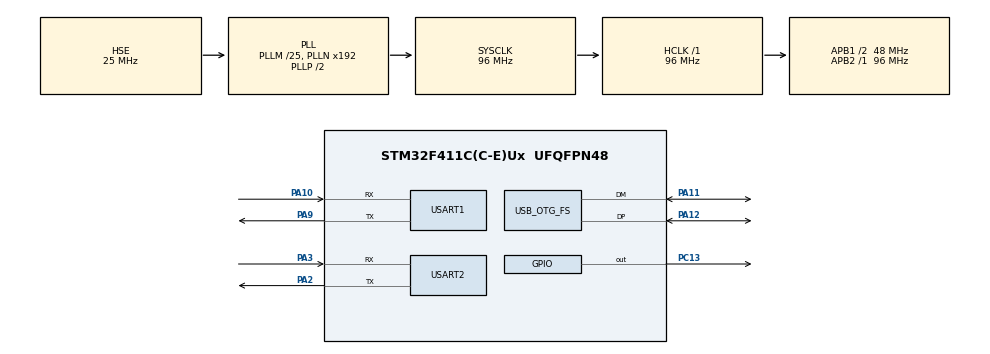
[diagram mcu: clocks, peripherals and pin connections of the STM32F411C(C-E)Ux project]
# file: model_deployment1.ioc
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Dma.Request0=USART2_RX
Dma.USART2_RX.0.Direction=DMA_PERIPH_TO_MEMORY
Dma.USART2_RX.0.FIFOMode=DMA_FIFOMODE_DISABLE
Dma.USART2_RX.0.Instance=DMA1_Stream5
Dma.USART2_RX.0.MemDataAlignment=DMA_MDATAALIGN_BYTE
Dma.USART2_RX.0.MemInc=DMA_MINC_ENABLE
Dma.USART2_RX.0.Mode=DMA_NORMAL
Dma.USART2_RX.0.PeriphDataAlignment=DMA_PDATAALIGN_BYTE
Dma.USART2_RX.0.PeriphInc=DMA_PINC_DISABLE
Dma.USART2_RX.0.Priority=DMA_PRIORITY_LOW
Mcu.Family=STM32F4
Mcu.Name=STM32F411C(C-E)Ux
Mcu.Package=UFQFPN48
NVIC.DMA1_Stream5_IRQn=true\:0\:0\:false\:false\:true\:false\:true\:true
NVIC.OTG_FS_IRQn=true\:0\:0\:false\:false\:true\:false\:true\:true
NVIC.PriorityGroup=NVIC_PRIORITYGROUP_4
NVIC.USART2_IRQn=true\:0\:0\:false\:false\:true\:true\:true\:true
PA10.Mode=Asynchronous
PA10.Signal=USART1_RX
PA11.Mode=Device_Only
PA11.Signal=USB_OTG_FS_DM
PA12.Mode=Device_Only
PA12.Signal=USB_OTG_FS_DP
PA2.Mode=Asynchronous
PA2.Signal=USART2_TX
PA3.Mode=Asynchronous
PA3.Signal=USART2_RX
PA9.Mode=Asynchronous
PA9.Signal=USART1_TX
PC13-ANTI_TAMP.Signal=GPIO_Output
PC14-OSC32_IN.Mode=LSE-External-Oscillator
PC14-OSC32_IN.Signal=RCC_OSC32_IN
PC15-OSC32_OUT.Mode=LSE-External-Oscillator
PC15-OSC32_OUT.Signal=RCC_OSC32_OUT
PH0\ -\ OSC_IN.Mode=HSE-External-Oscillator
PH0\ -\ OSC_IN.Signal=RCC_OSC_IN
PH1\ -\ OSC_OUT.Mode=HSE-External-Oscillator
PH1\ -\ OSC_OUT.Signal=RCC_OSC_OUT
ProjectManager.HeapSize=0x200
ProjectManager.StackSize=0x400
ProjectManager.TargetToolchain=STM32CubeIDE
RCC.48MHZClocksFreq_Value=48000000
RCC.AHBFreq_Value=96000000
RCC.APB1CLKDivider=RCC_HCLK_DIV2
RCC.APB1Freq_Value=48000000
RCC.APB1TimFreq_Value=96000000
RCC.APB2Freq_Value=96000000
RCC.APB2TimFreq_Value=96000000
RCC.CortexFreq_Value=96000000
RCC.HCLKFreq_Value=96000000
RCC.HSE_VALUE=25000000
RCC.HSI_VALUE=16000000
RCC.PLLM=25
RCC.SYSCLKFreq_VALUE=96000000
RCC.SYSCLKSource=RCC_SYSCLKSOURCE_PLLCLK
RCC.VCOOutputFreq_Value=192000000
USART1.VirtualMode=VM_ASYNC
USART2.VirtualMode=VM_ASYNC
USB_DEVICE.CLASS_NAME_FS=CDC
USB_DEVICE.VirtualMode=Cdc
USB_DEVICE.VirtualModeFS=Cdc_FS
USB_OTG_FS.VirtualMode=Device_Only
VP_USB_DEVICE_VS_USB_DEVICE_CDC_FS.Mode=CDC_FS
board=custom

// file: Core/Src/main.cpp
/* USER CODE BEGIN Header */
/**
  ******************************************************************************
  * @file           : main.c
  * @brief          : Main program body
  ******************************************************************************
  * @attention
  *
  * Copyright (c) 2024 STMicroelectronics.
  * All rights reserved.
  *
  * This software is licensed under terms that can be found in the LICENSE file
  * in the root directory of this software component.
  * If no LICENSE file comes with this software, it is provided AS-IS.
  *
  ******************************************************************************
  */
/* USER CODE END Header */
#include "main.h"
#include "usb_device.h"

UART_HandleTypeDef huart1;
UART_HandleTypeDef huart2; // Used for communication with the EMG board reader
DMA_HandleTypeDef hdma_usart2_rx;

void SystemClock_Config(void);
static void MX_GPIO_Init(void);
static void MX_DMA_Init(void);
static void MX_USART1_UART_Init(void);
static void MX_USART2_UART_Init(void);

/* USER CODE BEGIN 0 */

// Initialize Variable to hold data being received from UART
  uint8_t Rx_Data[1];
// Initialize a Variable to represent the index of the input array
  int model_input_index = 0;

void HAL_UART_RxCpltCallback(UART_HandleTypeDef *huart){

	// Check which UART Initiated this callback
	if (huart->Instance == USART2){
	//TF_LITE_REPORT_ERROR(error_reporter, "Data is received through DMA\n");
    __HAL_UART_CLEAR_OREFLAG(&huart2);
	// Place the received value in it's position in the model input
	model_input->data.f[model_input_index] = Rx_Data[0];

	//Increment the index and check if full
	model_input_index++;

	if (model_input_index >= (input_width*input_height*input_channels)){
		model_input_index = 0;      // Reset the index

		// Invoke the model and print results
		TF_LITE_REPORT_ERROR(error_reporter, "The model will be invoked now\n");
			  	        // Run inference, and report any error
			  	        TfLiteStatus invoke_status = interpreter->Invoke();
			  	        if (invoke_status != kTfLiteOk)
			  	        {
			  	            TF_LITE_REPORT_ERROR(error_reporter, "Invoke failed on model input\n");
			  	            //return 0;
			  	        }

			  	        // Read the predicted value from the model's output tensor
			  	      float model_output_results[out_size]; // Assuming there are 5 joint values
			  	      for (int i = 0; i < out_size; ++i) {
			  	          model_output_results[i] = model_output->data.f[i];
			  	      }

			  	      // Log the current X and Y values
			  	      	TF_LITE_REPORT_ERROR(error_reporter, "Output Joint Angles are --- Index: %f   ,Middle: %f   ,Ring: %f   ,Pinky: %f   ,Thumb: %f\n",
			  	      						model_output_results[0], model_output_results[1], model_output_results[2], model_output_results[3], model_output_results[4]);

	}

	// Restart the DMA to get the next value.
	HAL_UART_Receive_DMA(&huart2, Rx_Data, 1);
	}
}
/* USER CODE END 0 */

int main(void)
{

  /* MCU Configuration--------------------------------------------------------*/

  /* Reset of all peripherals, Initializes the Flash interface and the Systick. */
  HAL_Init();

  /* Configure the system clock */
  SystemClock_Config();

  /* USER CODE BEGIN SysInit */
  MX_GPIO_Init();
  MX_DMA_Init();
  MX_USART1_UART_Init();
  MX_USB_DEVICE_Init();
  MX_USART2_UART_Init();
  /* USER CODE END SysInit */

  /* Initialize all configured peripherals */
  /* USER CODE BEGIN 2 */
  static tflite::MicroErrorReporter micro_error_reporter;
    	error_reporter = &micro_error_reporter;

    	// Map the model into a usable data structure. This doesn't involve any
    	// copying or parsing, it's a very lightweight operation.
      model = tflite::GetModel(cnn_model);

    	if(model->version() != TFLITE_SCHEMA_VERSION)
    	{
    		TF_LITE_REPORT_ERROR(error_reporter,
    	                         "Model provided is schema version %d not equal "
    	                         "to supported version %d.",
    	                         model->version(), TFLITE_SCHEMA_VERSION);
    	    return 0;
    	}

    	// This pulls in all the operation implementations we need.
    	static tflite::ops::micro::AllOpsResolver resolver;

    	// Build an interpreter to run the model with.
    	static tflite::MicroInterpreter static_interpreter(model, resolver, tensor_arena, kTensorArenaSize, error_reporter);
    	interpreter = &static_interpreter;

    	// Allocate memory from the tensor_arena for the model's tensors.
    	TfLiteStatus allocate_status = interpreter->AllocateTensors();
    	if (allocate_status != kTfLiteOk)
    	{
    	    TF_LITE_REPORT_ERROR(error_reporter, "AllocateTensors() failed");
    	    return 0;
    	}

    	// Obtain pointers to the model's input and output tensors.
    	model_input = interpreter->input(0);
    	model_output = interpreter->output(0);

    	// Use DMA to get received data from UART and place it in input tensor
    	HAL_UART_Receive_DMA(&huart2, Rx_Data, 1);

  /* USER CODE END 2 */

  /* Infinite loop */
  /* USER CODE BEGIN WHILE */
  while (1)
  {
	  //HAL_UART_Receive(&huart2, Rx_Data, 1, HAL_MAX_DELAY);
	  TF_LITE_REPORT_ERROR(error_reporter, "Rx_Data Received: %d, %d \n", Rx_Data[0], model_input_index);
	  /* USER CODE BEGIN 3 */

	  // Fill the input tensor buffer with your input data to the model
	  /*for (int i = 0; i < input_width; ++i) { //image width = 20
	      for (int j = 0; j < input_height; ++j) { //image height = 20
	          for (int k = 0; k < input_channels; ++k) { //image depth = 14 channels
	              // Compute the index into the flat buffer
	              int index = k + input_channels * (j + input_height * i);
	              // Assign the input value to the corresponding index in the input tensor buffer
	              model_input->data.f[index] = index;  //replace "index" with uart data recieved
	          }
	      }
	  } */

  /* USER CODE END 3 */
  }
}

void SystemClock_Config(void)
{
  RCC_OscInitTypeDef RCC_OscInitStruct = {0};
  RCC_ClkInitTypeDef RCC_ClkInitStruct = {0};

  /** Configure the main internal regulator output voltage
  */
  __HAL_RCC_PWR_CLK_ENABLE();
  __HAL_PWR_VOLTAGESCALING_CONFIG(PWR_REGULATOR_VOLTAGE_SCALE1);

  /** Initializes the RCC Oscillators according to the specified parameters
  * in the RCC_OscInitTypeDef structure.
  */
  RCC_OscInitStruct.OscillatorType = RCC_OSCILLATORTYPE_HSE;
  RCC_OscInitStruct.HSEState = RCC_HSE_ON;
  RCC_OscInitStruct.PLL.PLLState = RCC_PLL_ON;
  RCC_OscInitStruct.PLL.PLLSource = RCC_PLLSOURCE_HSE;
  RCC_OscInitStruct.PLL.PLLM = 25;
  RCC_OscInitStruct.PLL.PLLN = 192;
  RCC_OscInitStruct.PLL.PLLP = RCC_PLLP_DIV2;
  RCC_OscInitStruct.PLL.PLLQ = 4;
  if (HAL_RCC_OscConfig(&RCC_OscInitStruct) != HAL_OK)
  {
    Error_Handler();
  }

  /** Initializes the CPU, AHB and APB buses clocks
  */
  RCC_ClkInitStruct.ClockType = RCC_CLOCKTYPE_HCLK|RCC_CLOCKTYPE_SYSCLK
                              |RCC_CLOCKTYPE_PCLK1|RCC_CLOCKTYPE_PCLK2;
  RCC_ClkInitStruct.SYSCLKSource = RCC_SYSCLKSOURCE_PLLCLK;
  RCC_ClkInitStruct.AHBCLKDivider = RCC_SYSCLK_DIV1;
  RCC_ClkInitStruct.APB1CLKDivider = RCC_HCLK_DIV2;
  RCC_ClkInitStruct.APB2CLKDivider = RCC_HCLK_DIV1;

  if (HAL_RCC_ClockConfig(&RCC_ClkInitStruct, FLASH_LATENCY_3) != HAL_OK)
  {
    Error_Handler();
  }
}

static void MX_USART1_UART_Init(void)
{

  huart1.Instance = USART1;
  huart1.Init.BaudRate = 115200;
  huart1.Init.WordLength = UART_WORDLENGTH_8B;
  huart1.Init.StopBits = UART_STOPBITS_1;
  huart1.Init.Parity = UART_PARITY_NONE;
  huart1.Init.Mode = UART_MODE_TX_RX;
  huart1.Init.HwFlowCtl = UART_HWCONTROL_NONE;
  huart1.Init.OverSampling = UART_OVERSAMPLING_16;
  if (HAL_UART_Init(&huart1) != HAL_OK)
  {
    Error_Handler();
  }

}

static void MX_USART2_UART_Init(void)
{

  huart2.Instance = USART2;
  huart2.Init.BaudRate = 115200;
  huart2.Init.WordLength = UART_WORDLENGTH_8B;
  huart2.Init.StopBits = UART_STOPBITS_1;
  huart2.Init.Parity = UART_PARITY_NONE;
  huart2.Init.Mode = UART_MODE_TX_RX;
  huart2.Init.HwFlowCtl = UART_HWCONTROL_NONE;
  huart2.Init.OverSampling = UART_OVERSAMPLING_16;
  if (HAL_UART_Init(&huart2) != HAL_OK)
  {
    Error_Handler();
  }

}

static void MX_DMA_Init(void)
{

  /* DMA controller clock enable */
  __HAL_RCC_DMA1_CLK_ENABLE();

  /* DMA interrupt init */
  /* DMA1_Stream5_IRQn interrupt configuration */
  HAL_NVIC_SetPriority(DMA1_Stream5_IRQn, 0, 0);
  HAL_NVIC_EnableIRQ(DMA1_Stream5_IRQn);

}

static void MX_GPIO_Init(void)
{
  GPIO_InitTypeDef GPIO_InitStruct = {0};

  /* GPIO Ports Clock Enable */
  __HAL_RCC_GPIOC_CLK_ENABLE();
  __HAL_RCC_GPIOH_CLK_ENABLE();
  __HAL_RCC_GPIOA_CLK_ENABLE();

  /*Configure GPIO pin Output Level */
  HAL_GPIO_WritePin(GPIOC, GPIO_PIN_13, GPIO_PIN_RESET);

  /*Configure GPIO pin : PC13 */
  GPIO_InitStruct.Pin = GPIO_PIN_13;
  GPIO_InitStruct.Mode = GPIO_MODE_OUTPUT_PP;
  GPIO_InitStruct.Pull = GPIO_NOPULL;
  GPIO_InitStruct.Speed = GPIO_SPEED_FREQ_LOW;
  HAL_GPIO_Init(GPIOC, &GPIO_InitStruct);

}

void Error_Handler(void)
{
  __disable_irq();
  while (1)
  {
  }
}
